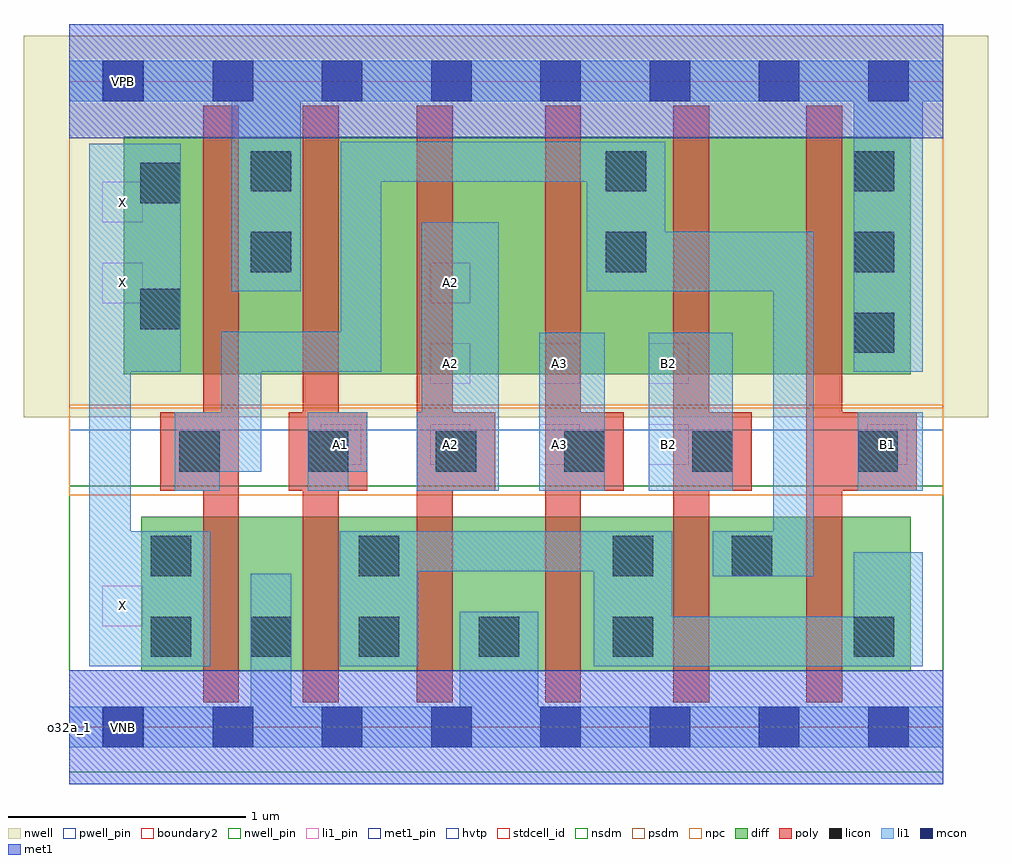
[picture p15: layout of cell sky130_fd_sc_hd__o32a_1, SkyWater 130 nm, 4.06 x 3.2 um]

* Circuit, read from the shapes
.subckt sky130_fd_sc_hd__o32a_1 A1 A2 A3 B1 B2 VGND VNB VPB VPWR X
XM1 VGND n1 X VNB sky130_fd_pr__nfet_01v8 w=0.65 l=0.15
XM2 n2 A1 VGND VNB sky130_fd_pr__nfet_01v8 w=0.65 l=0.15
XM3 VGND A2 n2 VNB sky130_fd_pr__nfet_01v8 w=0.65 l=0.15
XM4 n2 A3 VGND VNB sky130_fd_pr__nfet_01v8 w=0.65 l=0.15
XM5 n1 B2 n2 VNB sky130_fd_pr__nfet_01v8 w=0.65 l=0.15
XM6 n2 B1 n1 VNB sky130_fd_pr__nfet_01v8 w=0.65 l=0.15
XM7 VPWR n1 X VPB sky130_fd_pr__pfet_01v8_hvt w=1 l=0.15
XM8 n3 A1 VPWR VPB sky130_fd_pr__pfet_01v8_hvt w=1 l=0.15
XM9 n4 A2 n3 VPB sky130_fd_pr__pfet_01v8_hvt w=1 l=0.15
XM10 n1 A3 n4 VPB sky130_fd_pr__pfet_01v8_hvt w=1 l=0.15
XM11 n5 B2 n1 VPB sky130_fd_pr__pfet_01v8_hvt w=1 l=0.15
XM12 VPWR B1 n5 VPB sky130_fd_pr__pfet_01v8_hvt w=1 l=0.15
.ends

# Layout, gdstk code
import gdstk
lib = gdstk.Library(unit=1e-6, precision=1e-09)
def R(c, l, rs):  # rectangles x0, y0, x1, y1
    for r in rs: c.add(gdstk.rectangle(r[:2], r[2:], *l))
def A(c, l, x, y, w, h, nx, ny, dx, dy):  # array of equal rectangles
    R(c, l, [(x+i*dx, y+j*dy, x+i*dx+w, y+j*dy+h) for i in range(nx) for j in range(ny)])
def P(c, l, *ps):  # polygons
    for p in ps: c.add(gdstk.Polygon(p, *l))
nwell_pin = (64, 16)
nwell = (64, 20)
diff = (65, 20)
poly = (66, 20)
licon = (66, 44)
li1_pin = (67, 16)
li1 = (67, 20)
mcon = (67, 44)
met1_pin = (68, 16)
met1 = (68, 20)
hvtp = (78, 44)
stdcell_id = (81, 4)
nsdm = (93, 44)
psdm = (94, 20)
npc = (95, 20)
pwell_pin = (122, 16)
boundary2 = (236, 0)

sky130_fd_sc_hd__o32a_1 = lib.new_cell('sky130_fd_sc_hd__o32a_1')
R(sky130_fd_sc_hd__o32a_1, nwell_pin, [(0.14,2.635,0.31,2.805)])
R(sky130_fd_sc_hd__o32a_1, nwell, [(-0.19,1.305,3.87,2.91)])
R(sky130_fd_sc_hd__o32a_1, diff, [(0.305,0.235,3.545,0.885), (0.23,1.485,3.545,2.485)])
P(sky130_fd_sc_hd__o32a_1, poly, [(1.795,1.325),(1.615,1.325),(1.615,2.615),(1.465,2.615),(1.465,0.105),(1.615,0.105),(1.615,0.995),(1.795,0.995)],
  [(1.255,1.325),(1.135,1.325),(1.135,2.615),(0.985,2.615),(0.985,1.325),(0.925,1.325),(0.925,0.995),(0.985,0.995),(0.985,0.105),(1.135,0.105),(1.135,0.995),(1.255,0.995)],
  [(2.875,1.325),(2.695,1.325),(2.695,2.615),(2.545,2.615),(2.545,0.105),(2.695,0.105),(2.695,0.995),(2.875,0.995)],
  [(2.335,1.325),(2.155,1.325),(2.155,2.615),(2.005,2.615),(2.005,0.105),(2.155,0.105),(2.155,0.995),(2.335,0.995)],
  [(0.715,2.615),(0.565,2.615),(0.565,1.325),(0.385,1.325),(0.385,0.995),(0.565,0.995),(0.565,0.105),(0.715,0.105)],
  [(3.57,1.325),(3.255,1.325),(3.255,2.615),(3.105,2.615),(3.105,0.105),(3.255,0.105),(3.255,0.995),(3.57,0.995)])
A(sky130_fd_sc_hd__o32a_1, licon, 0.465, 1.075, 0.17, 0.17, 5, 1, 0.54, 0)
A(sky130_fd_sc_hd__o32a_1, licon, 3.305, 1.575, 0.17, 0.17, 1, 3, 0, 0.34)
R(sky130_fd_sc_hd__o32a_1, licon, [(0.345,0.295,0.515,0.465), (0.765,0.295,0.935,0.465), (1.22,0.295,1.39,0.465), (1.725,0.295,1.895,0.465), (2.29,0.295,2.46,0.465), (3.305,0.295,3.475,0.465), (0.345,0.635,0.515,0.805), (1.22,0.635,1.39,0.805), (2.29,0.635,2.46,0.805), (2.79,0.635,2.96,0.805), (3.32,1.075,3.49,1.245), (0.3,1.675,0.47,1.845), (0.765,1.915,0.935,2.085), (2.26,1.915,2.43,2.085), (0.3,2.205,0.47,2.375), (0.765,2.255,0.935,2.425), (2.26,2.255,2.43,2.425)])
A(sky130_fd_sc_hd__o32a_1, li1_pin, 1.06, 1.105, 0.17, 0.17, 4, 1, 0.46, 0)
A(sky130_fd_sc_hd__o32a_1, li1_pin, 1.52, 1.445, 0.17, 0.17, 3, 1, 0.46, 0)
R(sky130_fd_sc_hd__o32a_1, li1_pin, [(0.14,0.425,0.31,0.595), (3.36,1.105,3.53,1.275), (0.14,1.785,0.31,1.955), (1.52,1.785,1.69,1.955), (0.14,2.125,0.31,2.295)])
R(sky130_fd_sc_hd__o32a_1, li1, [(1.98,0.995,2.255,1.66), (2.44,0.995,2.795,1.66), (3.32,0.995,3.595,1.325)])
P(sky130_fd_sc_hd__o32a_1, li1, [(3.595,0.735),(3.305,0.735),(3.305,0.465),(2.54,0.465),(2.54,0.825),(1.14,0.825),(1.14,0.255),(1.47,0.255),(1.47,0.655),(2.21,0.655),(2.21,0.255),(3.595,0.255)],
  [(3.135,2.085),(2.51,2.085),(2.51,2.465),(1.145,2.465),(1.145,1.665),(0.64,1.665),(0.64,1.325),(0.445,1.325),(0.445,0.995),(0.635,0.995),(0.635,1.075),(0.81,1.075),(0.81,1.495),(1.315,1.495),(1.315,2.295),(2.18,2.295),(2.18,1.835),(2.965,1.835),(2.965,0.825),(2.71,0.825),(2.71,0.635),(3.135,0.635)],
  [(1.81,2.125),(1.485,2.125),(1.485,1.325),(1.465,1.325),(1.465,0.995),(1.81,0.995)],
  [(1.255,1.325),(1.005,1.325),(1.005,0.995),(1.175,0.995),(1.175,1.075),(1.255,1.075)],
  [(3.68,0.085),(1.975,0.085),(1.975,0.485),(1.645,0.485),(1.645,0.085),(0.935,0.085),(0.935,0.645),(0.765,0.645),(0.765,0.085),(0,0.085),(0,-0.085),(3.68,-0.085)],
  [(3.68,2.805),(0,2.805),(0,2.635),(0.685,2.635),(0.685,1.835),(0.975,1.835),(0.975,2.635),(3.305,2.635),(3.305,1.495),(3.595,1.495),(3.595,2.635),(3.68,2.635)],
  [(0.595,0.825),(0.26,0.825),(0.26,1.495),(0.47,1.495),(0.47,2.455),(0.085,2.455),(0.085,0.255),(0.595,0.255)])
A(sky130_fd_sc_hd__o32a_1, mcon, 0.145, -0.085, 0.17, 0.17, 8, 2, 0.46, 2.72)
R(sky130_fd_sc_hd__o32a_1, met1_pin, [(0.14,-0.085,0.31,0.085), (0.14,2.635,0.31,2.805)])
R(sky130_fd_sc_hd__o32a_1, hvtp, [(0,1.25,3.68,2.72)])
R(sky130_fd_sc_hd__o32a_1, stdcell_id, [(0,0,3.68,2.72)])
R(sky130_fd_sc_hd__o32a_1, nsdm, [(0,-0.19,3.68,1.015)])
R(sky130_fd_sc_hd__o32a_1, psdm, [(0,1.355,3.68,2.91)])
R(sky130_fd_sc_hd__o32a_1, npc, [(0,0.975,3.68,1.345)])
R(sky130_fd_sc_hd__o32a_1, pwell_pin, [(0.14,-0.085,0.31,0.085)])
R(sky130_fd_sc_hd__o32a_1, boundary2, [(0,0,3.68,2.72)])
sky130_fd_sc_hd__o32a_1.add(gdstk.FlexPath([(0,2.72),(3.68,2.72)], 0.48, ends="flush", simple_path=True, layer=68, datatype=20))  # met1
sky130_fd_sc_hd__o32a_1.add(gdstk.FlexPath([(0,0),(3.68,0)], 0.48, ends="flush", simple_path=True, layer=68, datatype=20))  # met1
sky130_fd_sc_hd__o32a_1.add(gdstk.Label('X', (0.225,0.51), layer=67, texttype=5))
sky130_fd_sc_hd__o32a_1.add(gdstk.Label('X', (0.225,2.21), layer=67, texttype=5))
sky130_fd_sc_hd__o32a_1.add(gdstk.Label('A3', (2.065,1.53), layer=67, texttype=5))
sky130_fd_sc_hd__o32a_1.add(gdstk.Label('A1', (1.145,1.19), layer=67, texttype=5))
sky130_fd_sc_hd__o32a_1.add(gdstk.Label('A2', (1.605,1.19), layer=67, texttype=5))
sky130_fd_sc_hd__o32a_1.add(gdstk.Label('A3', (2.065,1.19), layer=67, texttype=5))
sky130_fd_sc_hd__o32a_1.add(gdstk.Label('B1', (3.445,1.19), layer=67, texttype=5))
sky130_fd_sc_hd__o32a_1.add(gdstk.Label('B2', (2.525,1.19), layer=67, texttype=5))
sky130_fd_sc_hd__o32a_1.add(gdstk.Label('A2', (1.605,1.53), layer=67, texttype=5))
sky130_fd_sc_hd__o32a_1.add(gdstk.Label('A2', (1.605,1.87), layer=67, texttype=5))
sky130_fd_sc_hd__o32a_1.add(gdstk.Label('B2', (2.525,1.53), layer=67, texttype=5))
sky130_fd_sc_hd__o32a_1.add(gdstk.Label('X', (0.225,1.87), layer=67, texttype=5))
sky130_fd_sc_hd__o32a_1.add(gdstk.Label('VPB', (0.23,2.72), layer=64, texttype=5))
sky130_fd_sc_hd__o32a_1.add(gdstk.Label('VNB', (0.23,0), layer=64, texttype=59))
sky130_fd_sc_hd__o32a_1.add(gdstk.Label('VPWR', (0.23,2.72), layer=68, texttype=5))
sky130_fd_sc_hd__o32a_1.add(gdstk.Label('VGND', (0.23,0), layer=68, texttype=5))
sky130_fd_sc_hd__o32a_1.add(gdstk.Label('o32a_1', (0,0), layer=83, texttype=44))

lib.write_gds('sky130_fd_sc_hd__o32a_1.gds')
